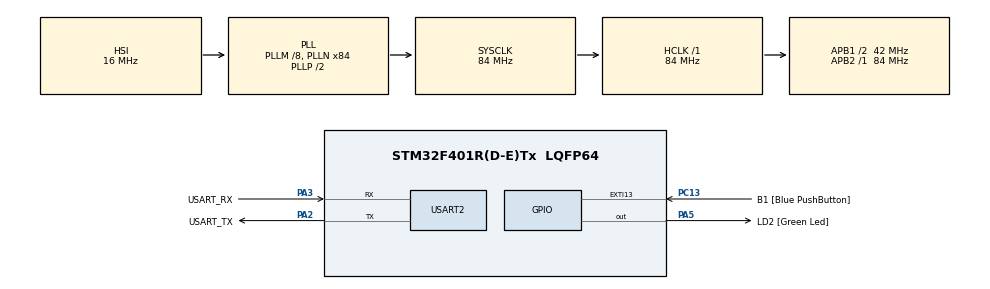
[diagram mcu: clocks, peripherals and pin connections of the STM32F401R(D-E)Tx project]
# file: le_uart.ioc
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Mcu.Family=STM32F4
Mcu.Name=STM32F401R(D-E)Tx
Mcu.Package=LQFP64
NVIC.PriorityGroup=NVIC_PRIORITYGROUP_0
NVIC.USART2_IRQn=true\:0\:0\:false\:false\:true\:true\:true\:true
PA13.GPIO_Label=TMS
PA13.Mode=Serial_Wire
PA13.Signal=SYS_JTMS-SWDIO
PA14.GPIO_Label=TCK
PA14.Mode=Serial_Wire
PA14.Signal=SYS_JTCK-SWCLK
PA2.GPIO_Label=USART_TX
PA2.GPIO_Mode=GPIO_MODE_AF_PP
PA2.GPIO_PuPd=GPIO_NOPULL
PA2.GPIO_Speed=GPIO_SPEED_FREQ_LOW
PA2.Mode=Asynchronous
PA2.Signal=USART2_TX
PA3.GPIO_Label=USART_RX
PA3.GPIO_Mode=GPIO_MODE_AF_PP
PA3.GPIO_PuPd=GPIO_NOPULL
PA3.GPIO_Speed=GPIO_SPEED_FREQ_LOW
PA3.Mode=Asynchronous
PA3.Signal=USART2_RX
PA5.GPIO_Label=LD2 [Green Led]
PA5.GPIO_Mode=GPIO_MODE_OUTPUT_PP
PA5.GPIO_PuPd=GPIO_NOPULL
PA5.GPIO_Speed=GPIO_SPEED_FREQ_LOW
PA5.Signal=GPIO_Output
PB3.GPIO_Label=SWO
PB3.Signal=SYS_JTDO-SWO
PC13-ANTI_TAMP.GPIO_Label=B1 [Blue PushButton]
PC13-ANTI_TAMP.GPIO_ModeDefaultEXTI=GPIO_MODE_IT_FALLING
PC13-ANTI_TAMP.GPIO_PuPd=GPIO_NOPULL
PC13-ANTI_TAMP.Signal=GPXTI13
PC14-OSC32_IN.Mode=LSE-External-Oscillator
PC14-OSC32_IN.Signal=RCC_OSC32_IN
PC15-OSC32_OUT.Mode=LSE-External-Oscillator
PC15-OSC32_OUT.Signal=RCC_OSC32_OUT
PH0\ -\ OSC_IN.Mode=HSE-External-Clock-Source
PH0\ -\ OSC_IN.Signal=RCC_OSC_IN
PH1\ -\ OSC_OUT.Mode=HSE-External-Clock-Source
PH1\ -\ OSC_OUT.Signal=RCC_OSC_OUT
ProjectManager.HeapSize=0x200
ProjectManager.StackSize=0x400
ProjectManager.TargetToolchain=STM32CubeIDE
RCC.48MHZClocksFreq_Value=24000000
RCC.AHBFreq_Value=84000000
RCC.APB1CLKDivider=RCC_HCLK_DIV2
RCC.APB1Freq_Value=42000000
RCC.APB1TimFreq_Value=84000000
RCC.APB2Freq_Value=84000000
RCC.APB2TimFreq_Value=84000000
RCC.CortexFreq_Value=84000000
RCC.HCLKFreq_Value=84000000
RCC.HSE_VALUE=8000000
RCC.HSI_VALUE=16000000
RCC.PLLM=8
RCC.PLLN=84
RCC.PLLQ=7
RCC.SYSCLKFreq_VALUE=84000000
RCC.SYSCLKSource=RCC_SYSCLKSOURCE_PLLCLK
RCC.VCOOutputFreq_Value=168000000
USART2.VirtualMode=VM_ASYNC
board=NUCLEO-F401RE

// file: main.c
/* USER CODE BEGIN Header */
/**
  ******************************************************************************
  * @file           : main.c
  * @brief          : Main program body
  ******************************************************************************
  * @attention
  *
  * Copyright (c) 2024 STMicroelectronics.
  * All rights reserved.
  *
  * This software is licensed under terms that can be found in the LICENSE file
  * in the root directory of this software component.
  * If no LICENSE file comes with this software, it is provided AS-IS.
  *
  ******************************************************************************
  */
/* USER CODE END Header */
#include "main.h"

UART_HandleTypeDef huart2;

/* USER CODE BEGIN PV */
uint8_t tx_buffer[27]="Embedded systems\n\r";
uint8_t rx_indx;
uint8_t rx_data[2];
uint8_t rx_buffer[100];
uint8_t transfer_cplt;
/* USER CODE END PV */

void SystemClock_Config(void);
static void MX_GPIO_Init(void);
static void MX_USART2_UART_Init(void);

int main(void)
{

  /* MCU Configuration--------------------------------------------------------*/

  /* Reset of all peripherals, Initializes the Flash interface and the Systick. */
  HAL_Init();

  /* Configure the system clock */
  SystemClock_Config();

  /* Initialize all configured peripherals */
  MX_GPIO_Init();
  MX_USART2_UART_Init();
  /* USER CODE BEGIN 2 */
HAL_UART_Receive_IT(&huart2, rx_data, 1);
  /* USER CODE END 2 */

  /* Infinite loop */
  while (1)
  {

  }
}

void SystemClock_Config(void)
{
  RCC_OscInitTypeDef RCC_OscInitStruct = {0};
  RCC_ClkInitTypeDef RCC_ClkInitStruct = {0};

  /** Configure the main internal regulator output voltage
  */
  __HAL_RCC_PWR_CLK_ENABLE();
  __HAL_PWR_VOLTAGESCALING_CONFIG(PWR_REGULATOR_VOLTAGE_SCALE2);

  /** Initializes the RCC Oscillators according to the specified parameters
  * in the RCC_OscInitTypeDef structure.
  */
  RCC_OscInitStruct.OscillatorType = RCC_OSCILLATORTYPE_HSI;
  RCC_OscInitStruct.HSIState = RCC_HSI_ON;
  RCC_OscInitStruct.HSICalibrationValue = RCC_HSICALIBRATION_DEFAULT;
  RCC_OscInitStruct.PLL.PLLState = RCC_PLL_ON;
  RCC_OscInitStruct.PLL.PLLSource = RCC_PLLSOURCE_HSI;
  RCC_OscInitStruct.PLL.PLLM = 8;
  RCC_OscInitStruct.PLL.PLLN = 84;
  RCC_OscInitStruct.PLL.PLLP = RCC_PLLP_DIV2;
  RCC_OscInitStruct.PLL.PLLQ = 7;
  if (HAL_RCC_OscConfig(&RCC_OscInitStruct) != HAL_OK)
  {
    Error_Handler();
  }

  /** Initializes the CPU, AHB and APB buses clocks
  */
  RCC_ClkInitStruct.ClockType = RCC_CLOCKTYPE_HCLK|RCC_CLOCKTYPE_SYSCLK
                              |RCC_CLOCKTYPE_PCLK1|RCC_CLOCKTYPE_PCLK2;
  RCC_ClkInitStruct.SYSCLKSource = RCC_SYSCLKSOURCE_PLLCLK;
  RCC_ClkInitStruct.AHBCLKDivider = RCC_SYSCLK_DIV1;
  RCC_ClkInitStruct.APB1CLKDivider = RCC_HCLK_DIV2;
  RCC_ClkInitStruct.APB2CLKDivider = RCC_HCLK_DIV1;

  if (HAL_RCC_ClockConfig(&RCC_ClkInitStruct, FLASH_LATENCY_2) != HAL_OK)
  {
    Error_Handler();
  }
}

static void MX_USART2_UART_Init(void)
{

  huart2.Instance = USART2;
  huart2.Init.BaudRate = 115200;
  huart2.Init.WordLength = UART_WORDLENGTH_8B;
  huart2.Init.StopBits = UART_STOPBITS_1;
  huart2.Init.Parity = UART_PARITY_NONE;
  huart2.Init.Mode = UART_MODE_TX_RX;
  huart2.Init.HwFlowCtl = UART_HWCONTROL_NONE;
  huart2.Init.OverSampling = UART_OVERSAMPLING_16;
  if (HAL_UART_Init(&huart2) != HAL_OK)
  {
    Error_Handler();
  }

}

static void MX_GPIO_Init(void)
{
  GPIO_InitTypeDef GPIO_InitStruct = {0};

  /* GPIO Ports Clock Enable */
  __HAL_RCC_GPIOC_CLK_ENABLE();
  __HAL_RCC_GPIOH_CLK_ENABLE();
  __HAL_RCC_GPIOA_CLK_ENABLE();
  __HAL_RCC_GPIOB_CLK_ENABLE();

  /*Configure GPIO pin Output Level */
  HAL_GPIO_WritePin(LD2_GPIO_Port, LD2_Pin, GPIO_PIN_RESET);

  /*Configure GPIO pin : B1_Pin */
  GPIO_InitStruct.Pin = B1_Pin;
  GPIO_InitStruct.Mode = GPIO_MODE_IT_FALLING;
  GPIO_InitStruct.Pull = GPIO_NOPULL;
  HAL_GPIO_Init(B1_GPIO_Port, &GPIO_InitStruct);

  /*Configure GPIO pin : LD2_Pin */
  GPIO_InitStruct.Pin = LD2_Pin;
  GPIO_InitStruct.Mode = GPIO_MODE_OUTPUT_PP;
  GPIO_InitStruct.Pull = GPIO_NOPULL;
  GPIO_InitStruct.Speed = GPIO_SPEED_FREQ_LOW;
  HAL_GPIO_Init(LD2_GPIO_Port, &GPIO_InitStruct);

}

/* USER CODE BEGIN 4 */
#include <string.h>

void HAL_UART_RxCpltCallback(UART_HandleTypeDef *huart)
{
    /* Prevent unused argument(s) compilation warning */
    UNUSED(huart);

    if (huart->Instance == USART2)
    {
        // Transmettre le caractère reçu à PuTTY Serial
        HAL_UART_Transmit(&huart2, rx_data, 1, 100);

        // Vérifier si le caractère reçu est différent de 'Enter' (code ASCII 13)
        if (rx_data[0] != 13)
        {
            // Ajouter le caractère reçu au tampon de réception
            rx_buffer[rx_indx++] = rx_data[0];
        }
        else
        {
            // Remise à zéro de l'index du tampon de réception
            rx_indx = 0;

            // Indicateur de réception complète
            transfer_cplt = 1;

            // Transmettre une nouvelle ligne et un retour chariot à PuTTY Serial
            HAL_UART_Transmit(&huart2, (uint8_t *)"\n\r", 2, 100);

            // Vérifier si la commande reçue est "LED ON"
            if (!strcmp(rx_buffer, "LED ON"))
            {
                // Allumer la LED LD2
                HAL_GPIO_WritePin(GPIOA, GPIO_PIN_5, GPIO_PIN_SET);

                // Transmettre "LED ON" à PuTTY Serial
                HAL_UART_Transmit(&huart2, (uint8_t *)"LED ON\n\r", strlen("LED ON\n\r"), 100);
            }
            else
            {
                // Éteindre la LED LD2 (optionnel : pour s'assurer qu'elle est éteinte si la commande n'est pas "LED ON")
                HAL_GPIO_WritePin(GPIOA, GPIO_PIN_5, GPIO_PIN_RESET);

                // Transmettre "Commande non reconnue" à PuTTY Serial
                HAL_UART_Transmit(&huart2, (uint8_t *)"Commande non reconnue\n\r", strlen("Commande non reconnue\n\r"), 100);
            }
        }

        // Réactiver l'interruption de réception UART pour le prochain caractère
        HAL_UART_Receive_IT(&huart2, rx_data, 1);
    }
}

/* USER CODE END 4 */

void Error_Handler(void)
{
  __disable_irq();
  while (1)
  {
  }
}
